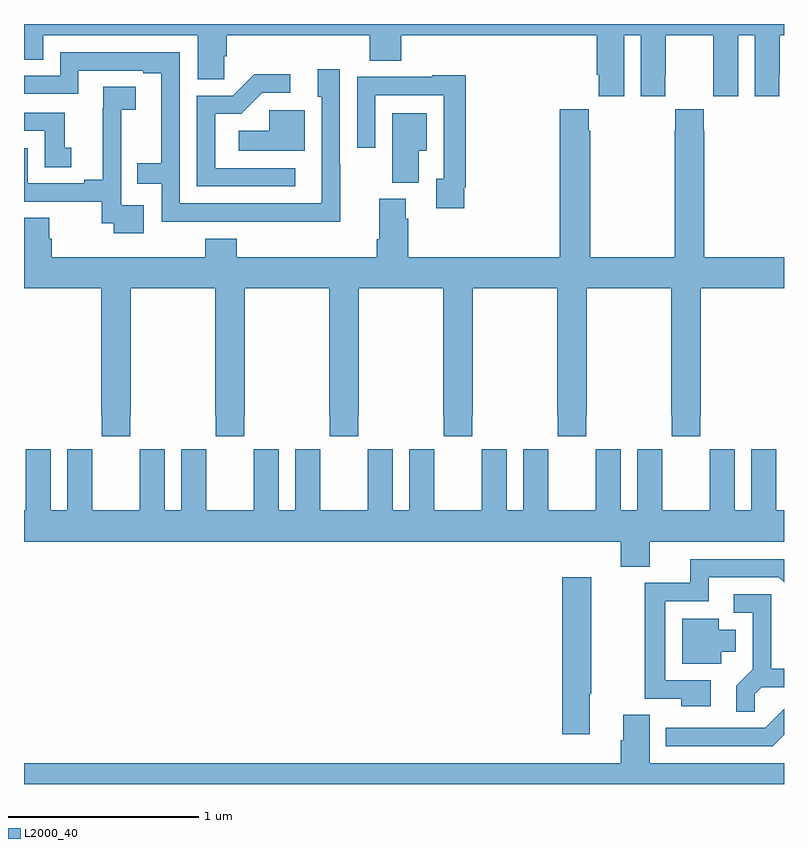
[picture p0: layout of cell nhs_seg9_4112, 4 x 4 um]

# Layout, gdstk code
import gdstk
lib = gdstk.Library(unit=1e-6, precision=1e-09)
def P(c, l, *ps):  # polygons
    for p in ps: c.add(gdstk.Polygon(p, *l))
L2000_40 = (2000, 40)

nhs_seg9_4112 = lib.new_cell('nhs_seg9_4112')
P(nhs_seg9_4112, L2000_40, [(350.158,1176.44),(350.246,1176.44),(350.246,1176.12),(350.376,1176.12),(350.376,1176.232),(350.377,1176.232),(350.377,1176.44),(350.627,1176.44),(350.627,1176.232),(350.628,1176.232),(350.628,1176.12),(350.758,1176.12),(350.758,1176.44),(350.846,1176.44),(350.846,1176.12),(350.976,1176.12),(350.976,1176.232),(350.977,1176.232),(350.977,1176.44),(351,1176.44),(351,1176.5),(347,1176.5),(347,1176.313),(347.101,1176.313),(347.101,1176.44),(347.915,1176.44),(347.915,1176.208),(348.054,1176.208),(348.054,1176.331),(348.068,1176.331),(348.068,1176.44),(348.821,1176.44),(348.821,1176.307),(348.986,1176.307),(348.986,1176.44),(350.015,1176.44),(350.015,1176.232),(350.024,1176.232),(350.024,1176.12),(350.158,1176.12)],
  [(348.665,1175.762),(348.663,1175.762),(348.663,1176.262),(348.545,1176.262),(348.545,1176.117),(348.567,1176.117),(348.567,1175.556),(347.82,1175.556),(347.82,1176.351),(347.19,1176.351),(347.19,1176.228),(347,1176.228),(347,1176.132),(347.286,1176.132),(347.286,1176.255),(347.627,1176.255),(347.627,1176.24),(347.723,1176.24),(347.723,1175.767),(347.596,1175.767),(347.596,1175.658),(347.724,1175.658),(347.724,1175.46),(348.202,1175.46),(348.202,1175.459),(348.665,1175.459)],
  [(348.427,1175.742),(348.006,1175.742),(348.006,1176.027),(348.144,1176.027),(348.255,1176.138),(348.4,1176.138),(348.4,1176.236),(348.212,1176.236),(348.099,1176.123),(347.91,1176.123),(347.91,1175.646),(348.427,1175.646)],
  [(349.318,1175.641),(349.325,1175.641),(349.325,1176.229),(349.149,1176.229),(349.149,1176.222),(348.753,1176.222),(348.753,1175.85),(348.849,1175.85),(348.849,1176.126),(349.209,1176.126),(349.209,1175.685),(349.169,1175.685),(349.169,1175.529),(349.318,1175.529)],
  [(347.629,1175.547),(347.511,1175.547),(347.511,1175.851),(347.513,1175.851),(347.513,1176.049),(347.587,1176.049),(347.587,1176.17),(347.416,1176.17),(347.416,1176.059),(347.414,1176.059),(347.414,1175.681),(347.318,1175.681),(347.318,1175.661),(347.019,1175.661),(347.019,1175.847),(347,1175.847),(347,1175.565),(347.41,1175.565),(347.41,1175.451),(347.473,1175.451),(347.473,1175.4),(347.629,1175.4)],
  [(347.559,1174.441),(347.562,1174.441),(347.562,1175.108),(348.007,1175.108),(348.007,1174.441),(348.009,1174.441),(348.009,1174.329),(348.159,1174.329),(348.159,1174.441),(348.162,1174.441),(348.162,1175.108),(348.607,1175.108),(348.607,1174.441),(348.609,1174.441),(348.609,1174.329),(348.759,1174.329),(348.759,1174.441),(348.762,1174.441),(348.762,1175.108),(349.207,1175.108),(349.207,1174.441),(349.209,1174.441),(349.209,1174.329),(349.359,1174.329),(349.359,1174.441),(349.362,1174.441),(349.362,1175.108),(349.807,1175.108),(349.807,1174.441),(349.809,1174.441),(349.809,1174.329),(349.959,1174.329),(349.959,1174.441),(349.962,1174.441),(349.962,1175.108),(350.407,1175.108),(350.407,1174.441),(350.409,1174.441),(350.409,1174.329),(350.559,1174.329),(350.559,1174.441),(350.562,1174.441),(350.562,1175.108),(351,1175.108),(351,1175.272),(350.58,1175.272),(350.58,1175.939),(350.577,1175.939),(350.577,1176.052),(350.427,1176.052),(350.427,1175.939),(350.425,1175.939),(350.425,1175.272),(349.98,1175.272),(349.98,1175.939),(349.973,1175.939),(349.973,1176.052),(349.82,1176.052),(349.82,1175.272),(349.022,1175.272),(349.022,1175.474),(349.009,1175.474),(349.009,1175.58),(348.869,1175.58),(348.869,1175.368),(348.857,1175.368),(348.857,1175.272),(348.119,1175.272),(348.119,1175.371),(347.954,1175.371),(347.954,1175.272),(347.147,1175.272),(347.147,1175.37),(347.134,1175.37),(347.134,1175.48),(347,1175.48),(347,1175.108),(347.407,1175.108),(347.407,1174.441),(347.409,1174.441),(347.409,1174.329),(347.559,1174.329)],
  [(348.478,1176.045),(348.291,1176.045),(348.291,1175.938),(348.129,1175.938),(348.129,1175.834),(348.478,1175.834)],
  [(347.248,1175.85),(347.215,1175.85),(347.215,1176.033),(347,1176.033),(347,1175.937),(347.108,1175.937),(347.108,1175.746),(347.248,1175.746)],
  [(349.078,1175.834),(349.12,1175.834),(349.12,1176.031),(348.938,1176.031),(348.938,1175.665),(349.078,1175.665)],
  [(350.293,1173.776),(351,1173.776),(351,1173.94),(350.959,1173.94),(350.959,1174.148),(350.958,1174.148),(350.958,1174.261),(350.828,1174.261),(350.828,1173.94),(350.74,1173.94),(350.74,1174.261),(350.61,1174.261),(350.61,1174.148),(350.609,1174.148),(350.609,1173.94),(350.359,1173.94),(350.359,1174.148),(350.358,1174.148),(350.358,1174.261),(350.228,1174.261),(350.228,1173.94),(350.14,1173.94),(350.14,1174.261),(350.01,1174.261),(350.01,1174.148),(350.009,1174.148),(350.009,1173.94),(349.759,1173.94),(349.759,1174.148),(349.758,1174.148),(349.758,1174.261),(349.628,1174.261),(349.628,1173.94),(349.54,1173.94),(349.54,1174.261),(349.41,1174.261),(349.41,1174.148),(349.409,1174.148),(349.409,1173.94),(349.159,1173.94),(349.159,1174.148),(349.158,1174.148),(349.158,1174.261),(349.028,1174.261),(349.028,1173.94),(348.94,1173.94),(348.94,1174.261),(348.81,1174.261),(348.81,1174.148),(348.809,1174.148),(348.809,1173.94),(348.559,1173.94),(348.559,1174.148),(348.558,1174.148),(348.558,1174.261),(348.428,1174.261),(348.428,1173.94),(348.34,1173.94),(348.34,1174.261),(348.21,1174.261),(348.21,1174.148),(348.209,1174.148),(348.209,1173.94),(347.959,1173.94),(347.959,1174.148),(347.958,1174.148),(347.958,1174.261),(347.828,1174.261),(347.828,1173.94),(347.74,1173.94),(347.74,1174.261),(347.61,1174.261),(347.61,1174.148),(347.609,1174.148),(347.609,1173.94),(347.359,1173.94),(347.359,1174.148),(347.358,1174.148),(347.358,1174.261),(347.228,1174.261),(347.228,1173.94),(347.14,1173.94),(347.14,1174.261),(347.01,1174.261),(347.01,1174.148),(347.009,1174.148),(347.009,1173.94),(347,1173.94),(347,1173.776),(350.141,1173.776),(350.141,1173.643),(350.293,1173.643)],
  [(350.614,1173.045),(350.376,1173.045),(350.376,1173.462),(350.605,1173.462),(350.605,1173.588),(350.973,1173.588),(351,1173.561),(351,1173.684),(350.507,1173.684),(350.507,1173.558),(350.268,1173.558),(350.268,1172.949),(350.458,1172.949),(350.458,1172.909),(350.614,1172.909)],
  [(349.978,1172.975),(349.986,1172.975),(349.986,1173.589),(349.832,1173.589),(349.832,1172.763),(349.978,1172.763)],
  [(350.847,1172.972),(350.884,1173.009),(351,1173.009),(351,1173.106),(350.933,1173.106),(350.933,1173.498),(350.736,1173.498),(350.736,1173.402),(350.835,1173.402),(350.835,1173.103),(350.749,1173.017),(350.749,1172.881),(350.847,1172.881)],
  [(350.671,1173.197),(350.746,1173.197),(350.746,1173.313),(350.656,1173.313),(350.656,1173.37),(350.465,1173.37),(350.465,1173.134),(350.671,1173.134)],
  [(351,1172.76),(351,1172.895),(350.901,1172.796),(350.378,1172.796),(350.378,1172.7),(350.94,1172.7)],
  [(351,1172.608),(350.293,1172.608),(350.293,1172.864),(350.153,1172.864),(350.153,1172.73),(350.141,1172.73),(350.141,1172.608),(347,1172.608),(347,1172.5),(351,1172.5)])

lib.write_gds('nhs_seg9_4112.gds')
